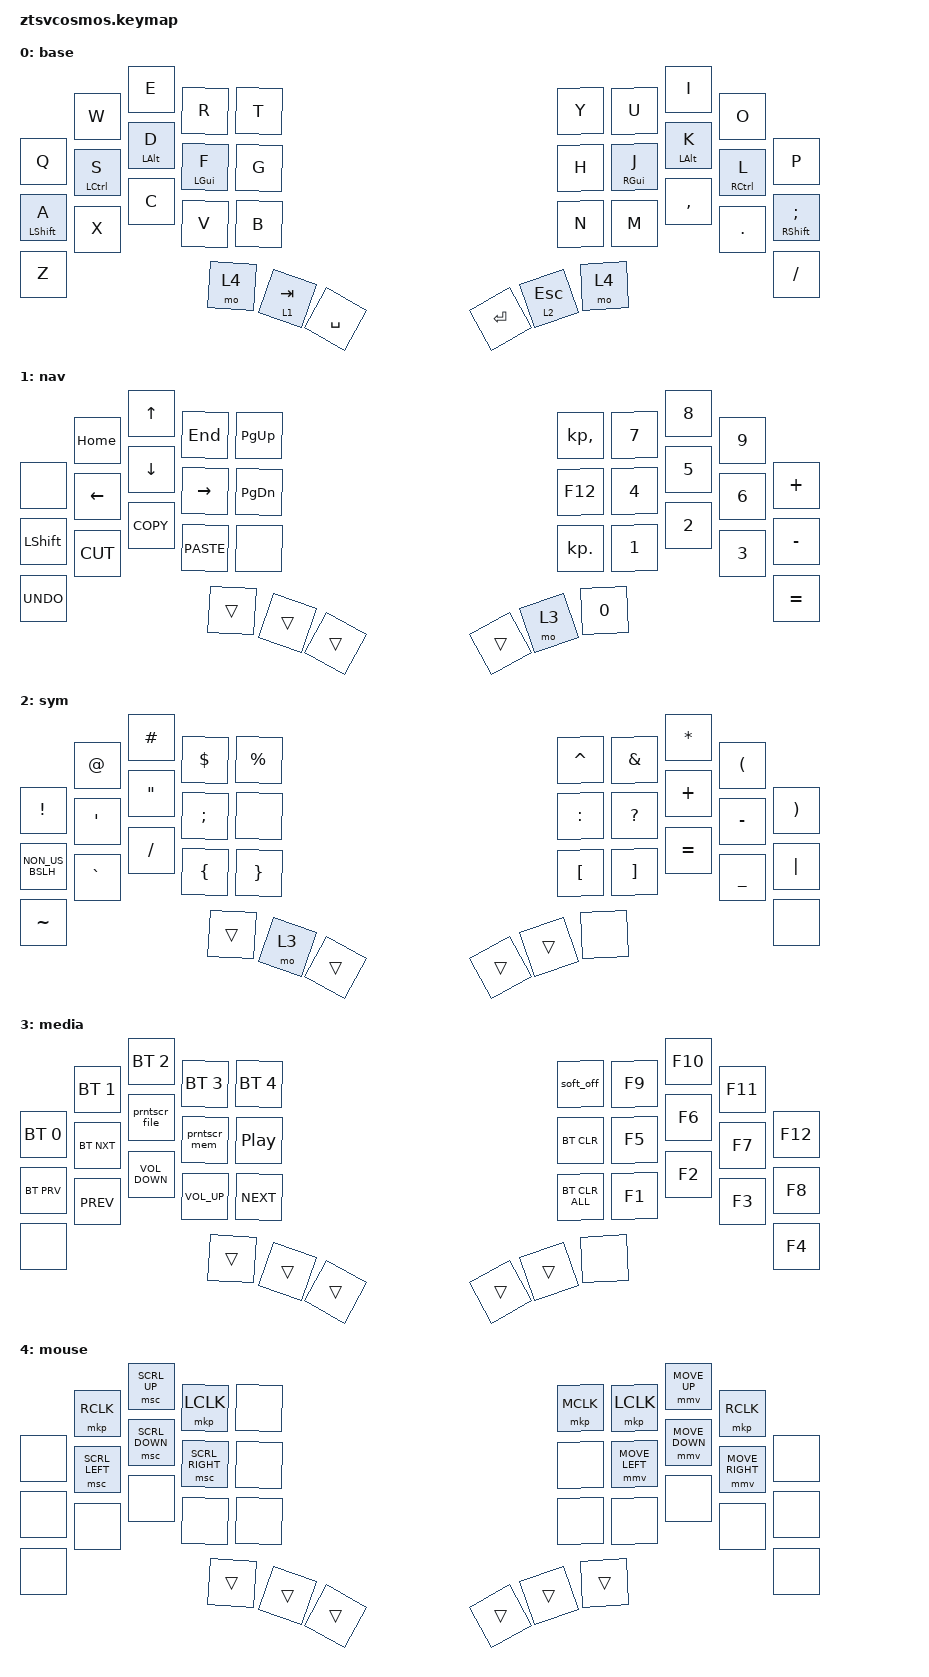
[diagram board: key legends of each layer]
#define ZMK_POINTING_DEFAULT_MOVE_VAL 600
#define ZMK_POINTING_DEFAULT_SCRL_VAL 20

#include <input/processors.dtsi>
#include <behaviors.dtsi>
#include <dt-bindings/zmk/bt.h>
#include <dt-bindings/zmk/keys.h>
#include <dt-bindings/zmk/pointing.h>

&soft_off { split-peripheral-off-on-press; };

&mmv {
    acceleration-exponent = <1>;
    time-to-max-speed-ms = <500>;
    delay-ms = <0>;
};

&msc {
    acceleration-exponent = <0>;
    time-to-max-speed-ms = <300>;
    delay-ms = <0>;
};

&mmv_input_listener { input-processors = <&zip_xy_scaler 3 1>; };

&msc_input_listener { input-processors = <&zip_scroll_scaler 2 1>; };

/ {
    combos {
        compatible = "zmk,combos";

        CapsWord {
            bindings = <&caps_word>;
            key-positions = <19 10>;
            layers = <0>;
        };

        backspace {
            bindings = <&kp BACKSPACE>;
            key-positions = <7 8>;
            layers = <0 1>;
        };

        delete {
            bindings = <&kp DELETE>;
            key-positions = <1 2>;
            layers = <0 1>;
        };

        right_bracket {
            bindings = <&kp RIGHT_BRACKET>;
            key-positions = <3 4>;
            layers = <0>;
        };

        left_bracket {
            bindings = <&kp LEFT_BRACKET>;
            key-positions = <2 3>;
            layers = <0>;
        };

        brackets {
            bindings = <&macro_brackets>;
            key-positions = <4 2>;
            layers = <0>;
        };

        left_parentheses {
            bindings = <&kp LEFT_PARENTHESIS>;
            key-positions = <5 6>;
            layers = <0>;
        };

        right_parentheses {
            bindings = <&kp RIGHT_PARENTHESIS>;
            key-positions = <6 7>;
            layers = <0>;
        };

        parentheses {
            bindings = <&macro_parentheses>;
            key-positions = <5 7>;
            layers = <0>;
        };

        left_brace {
            bindings = <&kp LEFT_BRACE>;
            key-positions = <22 23>;
            layers = <0>;
        };

        right_brace {
            bindings = <&kp RIGHT_BRACE>;
            key-positions = <24 23>;
            layers = <0>;
        };

        braces {
            bindings = <&macro_braces>;
            key-positions = <22 24>;
            layers = <0>;
        };

        lt {
            bindings = <&kp LESS_THAN>;
            key-positions = <25 26>;
            layers = <0>;
        };

        gt {
            bindings = <&kp GREATER_THAN>;
            key-positions = <26 27>;
            layers = <0>;
        };

        ltgt {
            bindings = <&macro_ltgt>;
            key-positions = <25 27>;
            layers = <0>;
        };

        slash {
            bindings = <&kp SLASH>;
            key-positions = <2 11>;
            layers = <0>;
        };

        backslash {
            bindings = <&kp BSLH>;
            key-positions = <7 18>;
            layers = <0>;
        };
    };

    behaviors {
        hmr: hmr {
            compatible = "zmk,behavior-hold-tap";
            label = "HMR";
            bindings = <&kp>, <&kp>;

            #binding-cells = <2>;
            tapping-term-ms = <200>;
            quick-tap-ms = <175>;
            require-prior-idle-ms = <150>;

            flavor = "balanced";
            hold-trigger-key-positions = <0 1 2 3 4 10 11 12 13 14 20 21 22 23 24 30 31 32>;
            hold-trigger-on-release;
        };

        hml: hml {
            compatible = "zmk,behavior-hold-tap";
            label = "HML";
            bindings = <&kp>, <&kp>;

            #binding-cells = <2>;
            tapping-term-ms = <200>;
            quick-tap-ms = <175>;
            require-prior-idle-ms = <150>;
            flavor = "balanced";
            hold-trigger-key-positions = <5 6 7 8 9 15 16 17 18 19 25 26 27 28 29 33 34 35>;
            hold-trigger-on-release;
        };
    };

    soft_off_wakers {
        compatible = "zmk,soft-off-wakeup-sources";
        wakeup-sources = <&kscan0>;
    };

    macros {
        prntscr_mem: prntscr_mem {
            compatible = "zmk,behavior-macro";
            #binding-cells = <0>;
            bindings = <&kp LG(LC(LS(NUMBER_4)))>;
            label = "PRINTSCR_MEM";
        };

        prntscr_file: prntscr_file {
            compatible = "zmk,behavior-macro";
            #binding-cells = <0>;
            bindings = <&kp LG(LS(NUMBER_4))>;
            label = "PRINTSCR_FILE";
        };

        macro_brackets: macro_brackets {
            compatible = "zmk,behavior-macro";
            #binding-cells = <0>;
            bindings = <&kp LEFT_BRACKET &kp RIGHT_BRACKET &kp LEFT>;
            label = "MACRO_BRACKETS";
        };

        macro_parentheses: macro_parentheses {
            compatible = "zmk,behavior-macro";
            #binding-cells = <0>;
            bindings = <&kp LEFT_PARENTHESIS &kp RIGHT_PARENTHESIS &kp LEFT>;
            label = "MACRO_PARENTHESES";
        };

        macro_braces: macro_braces {
            compatible = "zmk,behavior-macro";
            #binding-cells = <0>;
            bindings = <&kp LEFT_BRACE &kp RIGHT_BRACE &kp LEFT>;
            label = "MACRO_BRACES";
        };

        macro_ltgt: macro_ltgt {
            compatible = "zmk,behavior-macro";
            #binding-cells = <0>;
            bindings = <&kp LESS_THAN &kp GREATER_THAN &kp LEFT>;
            label = "MACRO_LTGT";
        };
    };

    keymap {
        compatible = "zmk,keymap";

        base {
            bindings = <
// ╭──────────────────┬──────────────────┬──────────────────┬──────────────────┬──────────────────╮   ╭──────────────────┬──────────────────┬──────────────────┬──────────────────┬──────────────────╮
// │0                 │1                 │2                 │3                 │4                 │   │5                 │6                 │7                 │8                 │9                 │
    &kp Q              &kp W              &kp E              &kp R              &kp T                  &kp Y              &kp U              &kp I              &kp O              &kp P
// ├──────────────────├──────────────────┼──────────────────┼──────────────────┼──────────────────┤   ├──────────────────├──────────────────┼──────────────────┼──────────────────┼──────────────────┤
// │10                │11                │12                │13                │14                │   │15                │16                │17                │18                │19                │
    &hml LSHIFT A      &hml LCTRL S       &hml LEFT_ALT D    &hml LEFT_GUI F    &kp G                  &kp H              &hmr RIGHT_GUI J   &hmr LEFT_ALT K    &hmr RCTRL L       &hmr RSHIFT SEMI
// ├──────────────────├──────────────────┼──────────────────┼──────────────────┼──────────────────┤   ├──────────────────├──────────────────┼──────────────────┼──────────────────┼──────────────────┤
// │20                │21                │22                │23                │24                │   │25                │26                │27                │28                │29                │
    &kp Z              &kp X              &kp C              &kp V              &kp B                  &kp N              &kp M              &kp COMMA          &kp DOT            &kp FSLH
// ╰──────────────────┴──────────────────┼──────────────────┼──────────────────┼──────────────────┤   ├──────────────────├──────────────────┼──────────────────┼──────────────────┴──────────────────╯
//                                       │30                │31                │32                │   │33                │34                │35                │
                                          &mo 4              &lt 1 TAB          &kp SPACE              &kp RET            &lt 2 ESC          &mo 4
            >;
        };

        nav_num {
            display-name = "nav";
            bindings = <
// ╭──────────────────┬──────────────────┬──────────────────┬──────────────────┬──────────────────╮   ╭──────────────────┬──────────────────┬──────────────────┬──────────────────┬──────────────────╮
// │0                 │1                 │2                 │3                 │4                 │   │5                 │6                 │7                 │8                 │9                 │
    &none              &kp HOME           &kp UP             &kp END            &kp PAGE_UP            &kp KP_COMMA       &kp N7             &kp N8             &kp N9             &kp PLUS
// ├──────────────────├──────────────────┼──────────────────┼──────────────────┼──────────────────┤   ├──────────────────├──────────────────┼──────────────────┼──────────────────┼──────────────────┤
// │10                │11                │12                │13                │14                │   │15                │16                │17                │18                │19                │
    &kp LEFT_SHIFT     &kp LEFT           &kp DOWN           &kp RIGHT          &kp PAGE_DOWN          &kp F12            &kp N4             &kp N5             &kp N6             &kp MINUS
// ├──────────────────├──────────────────┼──────────────────┼──────────────────┼──────────────────┤   ├──────────────────├──────────────────┼──────────────────┼──────────────────┼──────────────────┤
// │20                │21                │22                │23                │24                │   │25                │26                │27                │28                │29                │
    &kp K_UNDO         &kp K_CUT          &kp K_COPY         &kp K_PASTE        &none                  &kp KP_DOT         &kp N1             &kp N2             &kp N3             &kp EQUAL
// ╰──────────────────┴──────────────────┼──────────────────┼──────────────────┼──────────────────┤   ├──────────────────├──────────────────┼──────────────────┼──────────────────┴──────────────────╯
//                                       │30                │31                │32                │   │33                │34                │35                │
                                          &trans             &trans             &trans                 &trans             &mo 3              &kp N0
            >;
        };

        symbols {
            display-name = "sym";
            bindings = <
// ╭──────────────────┬──────────────────┬──────────────────┬──────────────────┬──────────────────╮   ╭──────────────────┬──────────────────┬──────────────────┬──────────────────┬──────────────────╮
// │0                 │1                 │2                 │3                 │4                 │   │5                 │6                 │7                 │8                 │9                 │
    &kp EXCL           &kp AT             &kp HASH           &kp DOLLAR         &kp PERCENT            &kp CARET          &kp AMPS           &kp ASTRK          &kp LEFT_PARENTHESIS &kp RIGHT_PARENTHESIS
// ├──────────────────├──────────────────┼──────────────────┼──────────────────┼──────────────────┤   ├──────────────────├──────────────────┼──────────────────┼──────────────────┼──────────────────┤
// │10                │11                │12                │13                │14                │   │15                │16                │17                │18                │19                │
    &kp NON_US_BSLH    &kp SQT            &kp DOUBLE_QUOTES  &kp SEMICOLON      &none                  &kp COLON          &kp QUESTION       &kp PLUS           &kp MINUS          &kp PIPE
// ├──────────────────├──────────────────┼──────────────────┼──────────────────┼──────────────────┤   ├──────────────────├──────────────────┼──────────────────┼──────────────────┼──────────────────┤
// │20                │21                │22                │23                │24                │   │25                │26                │27                │28                │29                │
    &kp TILDE          &kp GRAVE          &kp SLASH          &kp LEFT_BRACE     &kp RIGHT_BRACE        &kp LEFT_BRACKET   &kp RIGHT_BRACKET  &kp EQUAL          &kp UNDER          &none
// ╰──────────────────┴──────────────────┼──────────────────┼──────────────────┼──────────────────┤   ├──────────────────├──────────────────┼──────────────────┼──────────────────┴──────────────────╯
//                                       │30                │31                │32                │   │33                │34                │35                │
                                          &trans             &mo 3              &trans                 &trans             &trans             &none
            >;
        };

        multimedia_fn {
            display-name = "media";
            bindings = <
// ╭──────────────────┬──────────────────┬──────────────────┬──────────────────┬──────────────────╮   ╭──────────────────┬──────────────────┬──────────────────┬──────────────────┬──────────────────╮
// │0                 │1                 │2                 │3                 │4                 │   │5                 │6                 │7                 │8                 │9                 │
    &bt BT_SEL 0       &bt BT_SEL 1       &bt BT_SEL 2       &bt BT_SEL 3       &bt BT_SEL 4           &soft_off          &kp F9             &kp F10            &kp F11            &kp F12
// ├──────────────────├──────────────────┼──────────────────┼──────────────────┼──────────────────┤   ├──────────────────├──────────────────┼──────────────────┼──────────────────┼──────────────────┤
// │10                │11                │12                │13                │14                │   │15                │16                │17                │18                │19                │
    &bt BT_PRV         &bt BT_NXT         &prntscr_file      &prntscr_mem       &kp C_PLAY_PAUSE       &bt BT_CLR         &kp F5             &kp F6             &kp F7             &kp F8
// ├──────────────────├──────────────────┼──────────────────┼──────────────────┼──────────────────┤   ├──────────────────├──────────────────┼──────────────────┼──────────────────┼──────────────────┤
// │20                │21                │22                │23                │24                │   │25                │26                │27                │28                │29                │
    &none              &kp C_PREV         &kp C_VOLUME_DOWN  &kp C_VOLUME_UP    &kp C_NEXT             &bt BT_CLR_ALL     &kp F1             &kp F2             &kp F3             &kp F4
// ╰──────────────────┴──────────────────┼──────────────────┼──────────────────┼──────────────────┤   ├──────────────────├──────────────────┼──────────────────┼──────────────────┴──────────────────╯
//                                       │30                │31                │32                │   │33                │34                │35                │
                                          &trans             &trans             &trans                 &trans             &trans             &none
            >;
        };

        mouse {
            display-name = "mouse";
            bindings = <
// ╭──────────────────┬──────────────────┬──────────────────┬──────────────────┬──────────────────╮   ╭──────────────────┬──────────────────┬──────────────────┬──────────────────┬──────────────────╮
// │0                 │1                 │2                 │3                 │4                 │   │5                 │6                 │7                 │8                 │9                 │
    &none              &mkp RCLK          &msc SCRL_UP       &mkp LCLK          &none                  &mkp MCLK          &mkp LCLK          &mmv MOVE_UP       &mkp RCLK          &none
// ├──────────────────├──────────────────┼──────────────────┼──────────────────┼──────────────────┤   ├──────────────────├──────────────────┼──────────────────┼──────────────────┼──────────────────┤
// │10                │11                │12                │13                │14                │   │15                │16                │17                │18                │19                │
    &none              &msc SCRL_LEFT     &msc SCRL_DOWN     &msc SCRL_RIGHT    &none                  &none              &mmv MOVE_LEFT     &mmv MOVE_DOWN     &mmv MOVE_RIGHT    &none
// ├──────────────────├──────────────────┼──────────────────┼──────────────────┼──────────────────┤   ├──────────────────├──────────────────┼──────────────────┼──────────────────┼──────────────────┤
// │20                │21                │22                │23                │24                │   │25                │26                │27                │28                │29                │
    &none              &none              &none              &none              &none                  &none              &none              &none              &none              &none
// ╰──────────────────┴──────────────────┼──────────────────┼──────────────────┼──────────────────┤   ├──────────────────├──────────────────┼──────────────────┼──────────────────┴──────────────────╯
//                                       │30                │31                │32                │   │33                │34                │35                │
                                          &trans             &trans             &trans                 &trans             &trans             &trans
            >;
        };
    };
};
